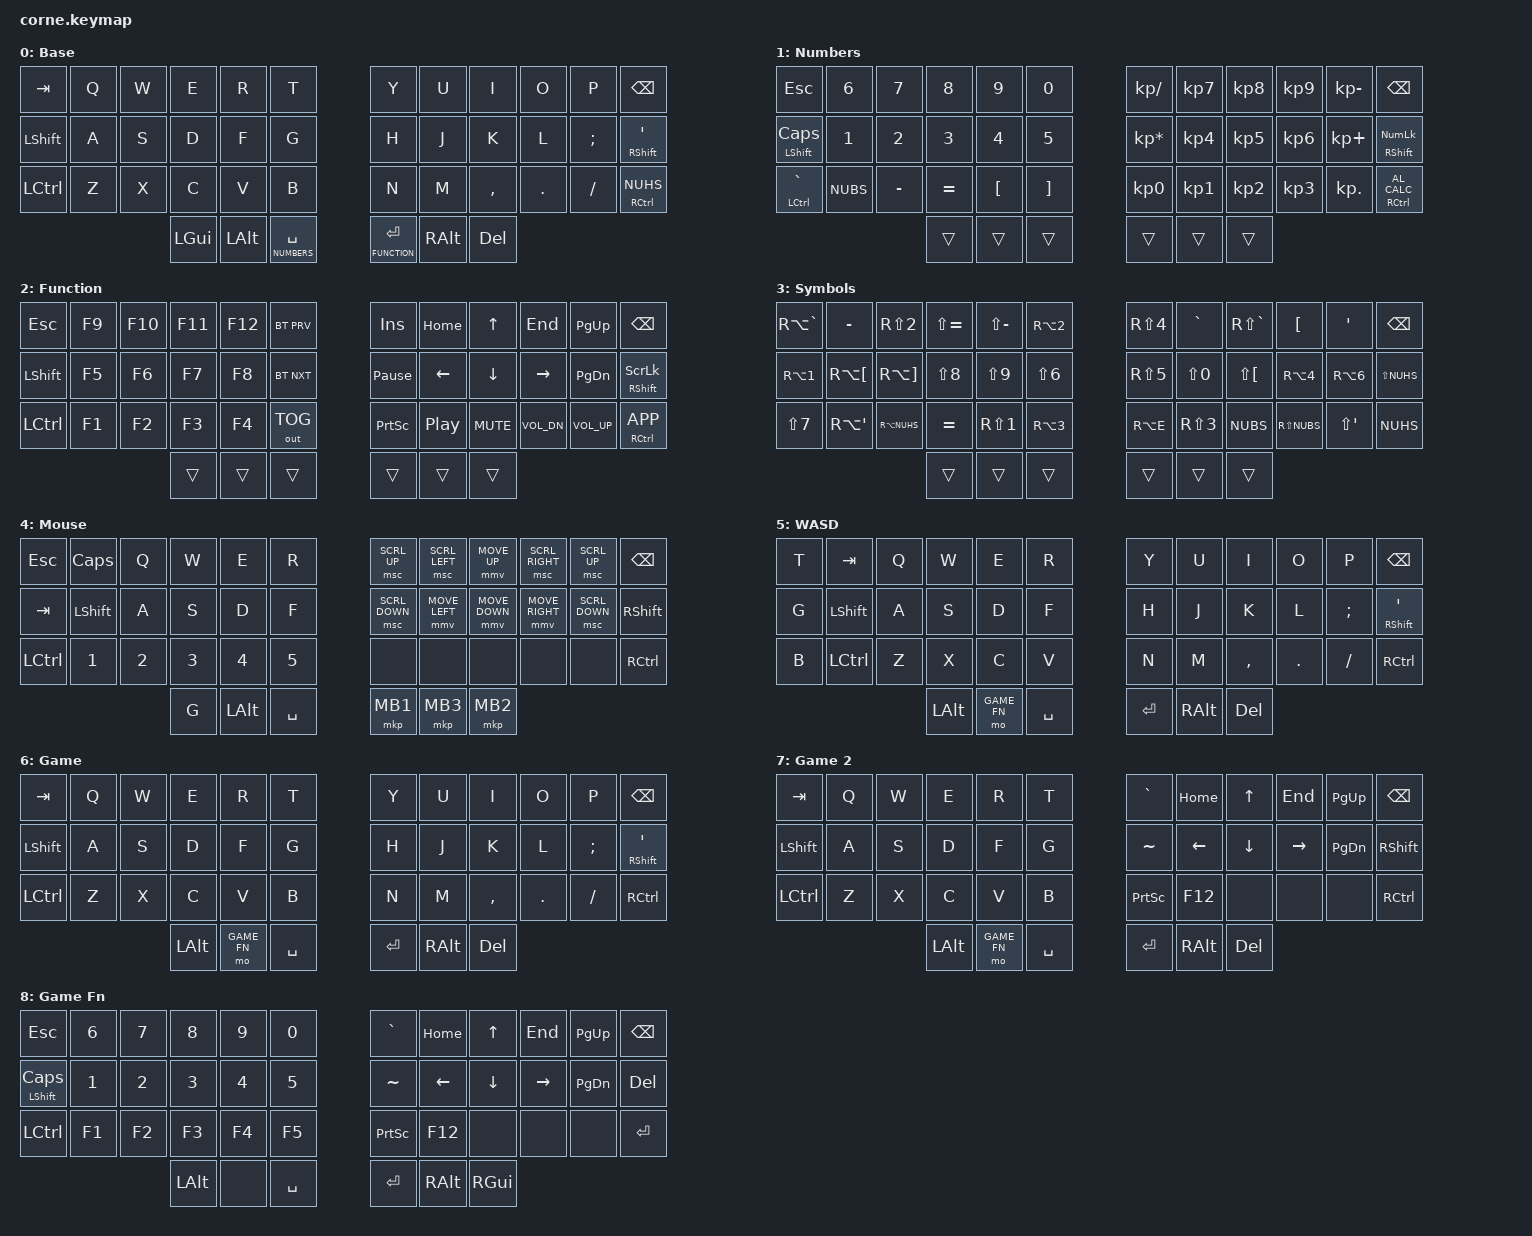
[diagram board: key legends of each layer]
/*
 * Copyright (c) 2020 The ZMK Contributors
 *
 * SPDX-License-Identifier: MIT
 */

#include <behaviors.dtsi>
#include <dt-bindings/zmk/bt.h>
#include <dt-bindings/zmk/keys.h>
#include <dt-bindings/zmk/outputs.h>

#define ZMK_POINTING_DEFAULT_MOVE_VAL 1500  // default: 600
#define ZMK_POINTING_DEFAULT_SCRL_VAL 20    // default: 10
#include <dt-bindings/zmk/pointing.h>

#define BASE 0
#define NUMBERS 1
#define FUNCTION 2
#define SYMBOLS 3
#define MOUSE 4
#define WASD 5
#define GAME 6
#define GAME_2 7
#define GAME_FN 8

#define KEY_TAB 0
#define KEY_T 5
#define KEY_Y 6
#define KEY_BACKSPACE 11
#define KEY_LSHIFT 12
#define KEY_G 17
#define KEY_H 18
#define KEY_TILDE 23
#define KEY_RSHIFT 23
#define KEY_LCTRL 24
#define KEY_B 29
#define KEY_N 30
#define KEY_RCTRL 35
#define KEY_WIN 36
#define KEY_LALT 37
#define KEY_SPACE 38
#define KEY_ENTER 39
#define KEY_RALT 40
#define KEY_DEL 41

&mt {
    tapping-term-ms = <200>;
};

&lt {
    tapping-term-ms = <200>;
};

/ {
        behaviors {
            mt: mod_tap {
                compatible = "zmk,behavior-hold-tap";
                #binding-cells = <2>;
                flavor = "balanced";
                tapping-term-ms = <200>;
                bindings = <&kp>, <&kp>;
                display-name = "Mod-Tap";
            };
        };

        combos {
                compatible = "zmk,combos";
                combo_mo_function {
                    timeout-ms = <100>;
                    key-positions = <KEY_WIN KEY_SPACE>;
                    slow-release;
                    bindings = <&mo FUNCTION>;
                    layers = <BASE>;
                };
                combo_mo_mouse {
                    timeout-ms = <50>;
                    key-positions = <KEY_LALT KEY_SPACE>;
                    slow-release;
                    bindings = <&mo MOUSE>;
                    layers = <BASE>;
                };
                combo_to_mouse {
                    timeout-ms = <50>;
                    key-positions = <KEY_ENTER KEY_RALT KEY_DEL>;
                    bindings = <&to MOUSE>;
                    layers = <BASE>;
                };
                combo_to_wasd {
                    timeout-ms = <50>;
                    key-positions = <KEY_ENTER KEY_WIN KEY_LALT KEY_SPACE>;
                    bindings = <&to WASD>;
                    layers = <BASE>;
                };
                combo_to_game {
                    timeout-ms = <50>;
                    key-positions = <KEY_WIN KEY_LALT KEY_SPACE>;
                    bindings = <&to GAME>;
                    layers = <BASE>;
                };
                combo_to_game2 {
                    timeout-ms = <50>;
                    key-positions = <KEY_SPACE KEY_ENTER KEY_RALT KEY_DEL>;
                    bindings = <&to GAME_2>;
                    layers = <BASE>;
                };
                combo_to_base {
                    timeout-ms = <50>;
                    key-positions = <KEY_WIN KEY_LALT KEY_SPACE>;
                    bindings = <&to BASE>;
                    layers = <MOUSE WASD GAME GAME_2>;
                };
                combo_to_base_alt {
                    timeout-ms = <50>;
                    key-positions = <KEY_ENTER KEY_RALT KEY_DEL>;
                    bindings = <&to BASE>;
                    layers = <MOUSE WASD GAME GAME_2>;
                };
                combo_caps_word {
                    timeout-ms = <50>;
                    key-positions = <KEY_LSHIFT KEY_RSHIFT>;
                    bindings = <&caps_word>;
                    layers = <BASE>;
                };
                combo_bt_clr {
                    timeout-ms = <100>;
                    key-positions = <KEY_H KEY_TILDE>;
                    bindings = <&bt BT_CLR>;
                    layers = <FUNCTION>;
                };
                combo_bt_disc_0 {
                    timeout-ms = <100>;
                    key-positions = <KEY_TAB KEY_T>;
                    bindings = <&bt BT_DISC 0>;
                    layers = <FUNCTION>;
                };
                combo_bt_disc_1 {
                    timeout-ms = <100>;
                    key-positions = <KEY_LSHIFT KEY_G>;
                    bindings = <&bt BT_DISC 1>;
                    layers = <FUNCTION>;
                };
                combo_bt_disc_2 {
                    timeout-ms = <100>;
                    key-positions = <KEY_LCTRL KEY_B>;
                    bindings = <&bt BT_DISC 2>;
                    layers = <FUNCTION>;
                };
                combo_bt_disc_3 {
                    timeout-ms = <100>;
                    key-positions = <KEY_Y KEY_BACKSPACE>;
                    bindings = <&bt BT_DISC 3>;
                    layers = <FUNCTION>;
                };
                combo_bt_disc_4 {
                    timeout-ms = <100>;
                    key-positions = <KEY_N KEY_RCTRL>;
                    bindings = <&bt BT_DISC 4>;
                    layers = <FUNCTION>;
                };
        };

        
        conditional_layers {
            compatible = "zmk,conditional-layers";
            tri_layer {
                if-layers = <NUMBERS FUNCTION>;
                then-layer = <SYMBOLS>;
            };
        };

        keymap {
                compatible = "zmk,keymap";

                base {
                        display-name = "Base";
                        bindings = <
   &kp TAB             &kp Q               &kp W               &kp E               &kp R               &kp T                                   &kp Y               &kp U               &kp I               &kp O               &kp P               &kp BSPC
   &kp LSHIFT          &kp A               &kp S               &kp D               &kp F               &kp G                                   &kp H               &kp J               &kp K               &kp L               &kp SEMI            &mt RSHIFT SQT
   &kp LCTRL           &kp Z               &kp X               &kp C               &kp V               &kp B                                   &kp N               &kp M               &kp COMMA           &kp DOT             &kp FSLH            &mt RCTRL NUHS
                                                               &kp LGUI            &kp LALT            &lt NUMBERS SPACE                       &lt FUNCTION RET    &kp RALT            &kp DEL
                        >;
                };

                numbers {
                        display-name = "Numbers";
                        bindings = <
   &kp ESC             &kp N6              &kp N7              &kp N8              &kp N9              &kp N0                                  &kp KP_SLASH        &kp KP_N7           &kp KP_N8           &kp KP_N9           &kp KP_MINUS        &kp BSPC
   &mt LSHIFT CAPS     &kp N1              &kp N2              &kp N3              &kp N4              &kp N5                                  &kp KP_ASTERISK     &kp KP_N4           &kp KP_N5           &kp KP_N6           &kp KP_PLUS         &mt RSHIFT KP_NUMLOCK
   &mt LCTRL GRAVE     &kp NUBS            &kp MINUS           &kp EQUAL           &kp LBKT            &kp RBKT                                &kp KP_N0           &kp KP_N1           &kp KP_N2           &kp KP_N3           &kp KP_DOT          &mt RCTRL C_AL_CALC
                                                               &trans              &trans              &trans                                  &trans              &trans              &trans
                        >;
                };

                function {
                        display-name = "Function";
                        bindings = <
   &kp ESC             &kp F9              &kp F10             &kp F11             &kp F12             &bt BT_PRV                              &kp INS             &kp HOME            &kp UP              &kp END             &kp PG_UP           &kp BSPC
   &kp LSHIFT          &kp F5              &kp F6              &kp F7              &kp F8              &bt BT_NXT                              &kp PAUSE_BREAK     &kp LEFT            &kp DOWN            &kp RIGHT           &kp PG_DN           &mt RSHIFT SCROLLLOCK
   &kp LCTRL           &kp F1              &kp F2              &kp F3              &kp F4              &out OUT_TOG                            &kp PSCRN           &kp C_PP            &kp C_MUTE          &kp C_VOL_DN        &kp C_VOL_UP        &mt RCTRL K_APP
                                                               &trans              &trans              &trans                                  &trans              &trans              &trans
                        >;
                };

                symbols {
                        display-name = "Symbols";
                        bindings = <
   &kp RA(GRAVE)       &kp MINUS           &kp RS(N2)          &kp LS(EQUAL)       &kp LS(MINUS)       &kp RA(N2)                              &kp RS(N4)          &kp GRAVE           &kp RS(GRAVE)       &kp LBKT            &kp SQT             &kp BSPC
   &kp RA(N1)          &kp RA(LBKT)        &kp RA(RBKT)        &kp LS(N8)          &kp LS(N9)          &kp LS(N6)                              &kp RS(N5)          &kp LS(N0)          &kp LS(LBKT)        &kp RA(N4)          &kp RA(N6)          &kp LS(NUHS)
   &kp LS(N7)          &kp RA(SQT)         &kp RA(NUHS)        &kp EQUAL           &kp RS(N1)          &kp RA(N3)                              &kp RA(E)           &kp RS(N3)          &kp NUBS            &kp RS(NUBS)        &kp LS(SQT)         &kp NUHS
                                                               &trans              &trans              &trans                                  &trans              &trans              &trans
                        >;
                };

                mouse {
                        display-name = "Mouse";
                        bindings = <
   &kp ESC             &kp CAPS            &kp Q               &kp W               &kp E               &kp R                                   &msc SCRL_UP        &msc SCRL_LEFT      &mmv MOVE_UP        &msc SCRL_RIGHT     &msc SCRL_UP        &kp BSPC
   &kp TAB             &kp LSHFT           &kp A               &kp S               &kp D               &kp F                                   &msc SCRL_DOWN      &mmv MOVE_LEFT      &mmv MOVE_DOWN      &mmv MOVE_RIGHT     &msc SCRL_DOWN      &kp RSHFT
   &kp LCTRL           &kp N1              &kp N2              &kp N3              &kp N4              &kp N5                                  &none               &none               &none               &none               &none               &kp RCTRL
                                                               &kp G               &kp LALT            &kp SPACE                               &mkp MB1            &mkp MB3            &mkp MB2
                        >;
                };

                wasd {
                        display-name = "WASD";
                        bindings = <
   &kp T               &kp TAB             &kp Q               &kp W               &kp E               &kp R                                   &kp Y               &kp U               &kp I               &kp O               &kp P               &kp BSPC
   &kp G               &kp LSHIFT          &kp A               &kp S               &kp D               &kp F                                   &kp H               &kp J               &kp K               &kp L               &kp SEMI            &mt RSHIFT SQT
   &kp B               &kp LCTRL           &kp Z               &kp X               &kp C               &kp V                                   &kp N               &kp M               &kp COMMA           &kp DOT             &kp FSLH            &kp RCTRL
                                                               &kp LALT            &mo GAME_FN         &kp SPACE                               &kp RET             &kp RALT            &kp DEL
                        >;
                };

                game {
                        display-name = "Game";
                        bindings = <
   &kp TAB             &kp Q               &kp W               &kp E               &kp R               &kp T                                   &kp Y               &kp U               &kp I               &kp O               &kp P               &kp BSPC
   &kp LSHIFT          &kp A               &kp S               &kp D               &kp F               &kp G                                   &kp H               &kp J               &kp K               &kp L               &kp SEMI            &mt RSHIFT SQT
   &kp LCTRL           &kp Z               &kp X               &kp C               &kp V               &kp B                                   &kp N               &kp M               &kp COMMA           &kp DOT             &kp FSLH            &kp RCTRL
                                                               &kp LALT            &mo GAME_FN         &kp SPACE                               &kp RET             &kp RALT            &kp DEL
                        >;
                };

                game_2 {
                        display-name = "Game 2";
                        bindings = <
   &kp TAB             &kp Q               &kp W               &kp E               &kp R               &kp T                                   &kp GRAVE           &kp HOME            &kp UP              &kp END             &kp PG_UP           &kp BSPC
   &kp LSHIFT          &kp A               &kp S               &kp D               &kp F               &kp G                                   &kp TILDE           &kp LEFT            &kp DOWN            &kp RIGHT           &kp PG_DN           &kp RSHIFT
   &kp LCTRL           &kp Z               &kp X               &kp C               &kp V               &kp B                                   &kp PSCRN           &kp F12             &none               &none               &none               &kp RCTRL
                                                               &kp LALT            &mo GAME_FN         &kp SPACE                               &kp RET             &kp RALT            &kp DEL
                        >;
                };

                game_fn {
                        display-name = "Game Fn";
                        bindings = <
   &kp ESC             &kp N6              &kp N7              &kp N8              &kp N9              &kp N0                                  &kp GRAVE           &kp HOME            &kp UP              &kp END             &kp PG_UP           &kp BSPC
   &mt LSHIFT CAPS     &kp N1              &kp N2              &kp N3              &kp N4              &kp N5                                  &kp TILDE           &kp LEFT            &kp DOWN            &kp RIGHT           &kp PG_DN           &kp DEL
   &kp LCTRL           &kp F1              &kp F2              &kp F3              &kp F4              &kp F5                                  &kp PSCRN           &kp F12             &none               &none               &none               &kp RET
                                                               &kp LALT            &none               &kp SPACE                               &kp RET             &kp RALT            &kp RGUI
                        >;
                };
        };
};
